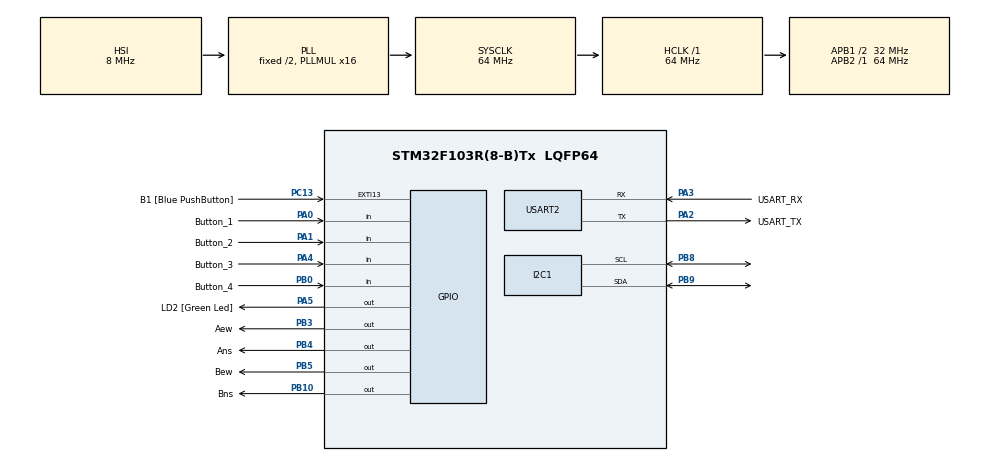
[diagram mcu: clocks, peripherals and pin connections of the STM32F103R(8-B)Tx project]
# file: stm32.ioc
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Mcu.Family=STM32F1
Mcu.Name=STM32F103R(8-B)Tx
Mcu.Package=LQFP64
NVIC.EXTI15_10_IRQn=true\:0\:0\:false\:false\:true\:true\:true\:true
NVIC.PriorityGroup=NVIC_PRIORITYGROUP_4
NVIC.TIM2_IRQn=true\:0\:0\:false\:false\:true\:true\:true\:true
PA0-WKUP.GPIO_Label=Button_1
PA0-WKUP.GPIO_PuPd=GPIO_PULLUP
PA0-WKUP.Signal=GPIO_Input
PA1.GPIO_Label=Button_2
PA1.GPIO_PuPd=GPIO_PULLUP
PA1.Signal=GPIO_Input
PA13.GPIO_Label=TMS
PA13.Mode=Serial_Wire
PA13.Signal=SYS_JTMS-SWDIO
PA14.GPIO_Label=TCK
PA14.Mode=Serial_Wire
PA14.Signal=SYS_JTCK-SWCLK
PA2.GPIO_Label=USART_TX
PA2.GPIO_Mode=GPIO_MODE_AF_PP
PA2.GPIO_PuPd=GPIO_NOPULL
PA2.GPIO_Speed=GPIO_SPEED_FREQ_LOW
PA2.Mode=Asynchronous
PA2.Signal=USART2_TX
PA3.GPIO_Label=USART_RX
PA3.GPIO_Mode=GPIO_MODE_AF_PP
PA3.GPIO_PuPd=GPIO_NOPULL
PA3.GPIO_Speed=GPIO_SPEED_FREQ_LOW
PA3.Mode=Asynchronous
PA3.Signal=USART2_RX
PA4.GPIO_Label=Button_3
PA4.GPIO_PuPd=GPIO_PULLUP
PA4.Signal=GPIO_Input
PA5.GPIO_Label=LD2 [Green Led]
PA5.GPIO_ModeDefaultOutputPP=GPIO_MODE_OUTPUT_PP
PA5.GPIO_PuPd=GPIO_NOPULL
PA5.GPIO_Speed=GPIO_SPEED_FREQ_LOW
PA5.Signal=GPIO_Output
PB0.GPIO_Label=Button_4
PB0.GPIO_PuPd=GPIO_PULLUP
PB0.Signal=GPIO_Input
PB10.GPIO_Label=Bns
PB10.Signal=GPIO_Output
PB3.GPIO_Label=Aew
PB3.Signal=GPIO_Output
PB4.GPIO_Label=Ans
PB4.Signal=GPIO_Output
PB5.GPIO_Label=Bew
PB5.Signal=GPIO_Output
PB8.Mode=I2C
PB8.Signal=I2C1_SCL
PB9.Mode=I2C
PB9.Signal=I2C1_SDA
PC13-TAMPER-RTC.GPIO_Label=B1 [Blue PushButton]
PC13-TAMPER-RTC.GPIO_PuPd=GPIO_NOPULL
PC13-TAMPER-RTC.Signal=GPXTI13
PC14-OSC32_IN.Mode=LSE-External-Oscillator
PC14-OSC32_IN.Signal=RCC_OSC32_IN
PC15-OSC32_OUT.Mode=LSE-External-Oscillator
PC15-OSC32_OUT.Signal=RCC_OSC32_OUT
PD0-OSC_IN.Mode=HSE-External-Clock-Source
PD0-OSC_IN.Signal=RCC_OSC_IN
PD1-OSC_OUT.Mode=HSE-External-Clock-Source
PD1-OSC_OUT.Signal=RCC_OSC_OUT
ProjectManager.HeapSize=0x200
ProjectManager.StackSize=0x400
ProjectManager.TargetToolchain=STM32CubeIDE
RCC.AHBFreq_Value=64000000
RCC.APB1CLKDivider=RCC_HCLK_DIV2
RCC.APB1Freq_Value=32000000
RCC.APB1TimFreq_Value=64000000
RCC.APB2Freq_Value=64000000
RCC.APB2TimFreq_Value=64000000
RCC.HCLKFreq_Value=64000000
RCC.PLLMUL=RCC_PLL_MUL16
RCC.RTCClockSelection=RCC_RTCCLKSOURCE_LSE
RCC.SYSCLKFreq_VALUE=64000000
RCC.SYSCLKSource=RCC_SYSCLKSOURCE_PLLCLK
RCC.USBFreq_Value=64000000
TIM2.Period=99
TIM2.Prescaler=7199
USART2.VirtualMode=VM_ASYNC
VP_TIM2_VS_ClockSourceINT.Mode=Internal
board=NUCLEO-F103RB

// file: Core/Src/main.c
/* USER CODE BEGIN Header */
/**
  ******************************************************************************
  * @file           : main.c
  * @brief          : Main program body
  ******************************************************************************
  * @attention
  *
  * Copyright (c) 2025 STMicroelectronics.
  * All rights reserved.
  *
  * This software is licensed under terms that can be found in the LICENSE file
  * in the root directory of this software component.
  * If no LICENSE file comes with this software, it is provided AS-IS.
  *
  ******************************************************************************
  */
/* USER CODE END Header */
#include "main.h"

/* USER CODE BEGIN Includes */
#include "global.h"
#include "timer.h"
#include "sched.h"
#include "button.h"
#include "light.h"
#include "i2c-lcd.h"
#include "fsm.h"
/* USER CODE END Includes */

I2C_HandleTypeDef hi2c1;

TIM_HandleTypeDef htim2;

UART_HandleTypeDef huart2;

void SystemClock_Config(void);
static void MX_GPIO_Init(void);
static void MX_USART2_UART_Init(void);
static void MX_TIM2_Init(void);
static void MX_I2C1_Init(void);

int main(void)
{

  /* MCU Configuration--------------------------------------------------------*/

  /* Reset of all peripherals, Initializes the Flash interface and the Systick. */
  HAL_Init();

  /* Configure the system clock */
  SystemClock_Config();

  /* Initialize all configured peripherals */
  MX_GPIO_Init();
  MX_USART2_UART_Init();
  MX_TIM2_Init();
  MX_I2C1_Init();
  /* USER CODE BEGIN 2 */

  // Initialize modules
  global_init();
  timer_init();
  button_init();
  light_init();
  SCH_Init();
  fsm_init();

  // Initialize LCD
  lcd_init();

  // Add tasks to scheduler
  SCH_Add_Task(fsm_run, 0, 100);              // FSM run every 1 second
  SCH_Add_Task(fsm_button_scan, 0, 1);        // Button scan every 10ms
  SCH_Add_Task(fsm_countdown_update, 100, 100); // Countdown every 1 second
  SCH_Add_Task(fsm_lcd_update, 0, 10);        // LCD update every 100ms
  SCH_Add_Task(fsm_flash_update, 50, 50);     // Flash update every 500ms

  // Start timer
  HAL_TIM_Base_Start_IT(&htim2);

  // Display initial screen
  fsm_lcd_update();
  /* USER CODE BEGIN 2 */

  /* USER CODE END 2 */

  /* Infinite loop */
  /* USER CODE BEGIN WHILE */
  while (1)
  {
	  SCH_Dispatch_Tasks();
    /* USER CODE END WHILE */

  }
}

void SystemClock_Config(void)
{
  RCC_OscInitTypeDef RCC_OscInitStruct = {0};
  RCC_ClkInitTypeDef RCC_ClkInitStruct = {0};

  /** Initializes the RCC Oscillators according to the specified parameters
  * in the RCC_OscInitTypeDef structure.
  */
  RCC_OscInitStruct.OscillatorType = RCC_OSCILLATORTYPE_HSI;
  RCC_OscInitStruct.HSIState = RCC_HSI_ON;
  RCC_OscInitStruct.HSICalibrationValue = RCC_HSICALIBRATION_DEFAULT;
  RCC_OscInitStruct.PLL.PLLState = RCC_PLL_ON;
  RCC_OscInitStruct.PLL.PLLSource = RCC_PLLSOURCE_HSI_DIV2;
  RCC_OscInitStruct.PLL.PLLMUL = RCC_PLL_MUL16;
  if (HAL_RCC_OscConfig(&RCC_OscInitStruct) != HAL_OK)
  {
    Error_Handler();
  }

  /** Initializes the CPU, AHB and APB buses clocks
  */
  RCC_ClkInitStruct.ClockType = RCC_CLOCKTYPE_HCLK|RCC_CLOCKTYPE_SYSCLK
                              |RCC_CLOCKTYPE_PCLK1|RCC_CLOCKTYPE_PCLK2;
  RCC_ClkInitStruct.SYSCLKSource = RCC_SYSCLKSOURCE_PLLCLK;
  RCC_ClkInitStruct.AHBCLKDivider = RCC_SYSCLK_DIV1;
  RCC_ClkInitStruct.APB1CLKDivider = RCC_HCLK_DIV2;
  RCC_ClkInitStruct.APB2CLKDivider = RCC_HCLK_DIV1;

  if (HAL_RCC_ClockConfig(&RCC_ClkInitStruct, FLASH_LATENCY_2) != HAL_OK)
  {
    Error_Handler();
  }
}

static void MX_I2C1_Init(void)
{

  hi2c1.Instance = I2C1;
  hi2c1.Init.ClockSpeed = 100000;
  hi2c1.Init.DutyCycle = I2C_DUTYCYCLE_2;
  hi2c1.Init.OwnAddress1 = 0;
  hi2c1.Init.AddressingMode = I2C_ADDRESSINGMODE_7BIT;
  hi2c1.Init.DualAddressMode = I2C_DUALADDRESS_DISABLE;
  hi2c1.Init.OwnAddress2 = 0;
  hi2c1.Init.GeneralCallMode = I2C_GENERALCALL_DISABLE;
  hi2c1.Init.NoStretchMode = I2C_NOSTRETCH_DISABLE;
  if (HAL_I2C_Init(&hi2c1) != HAL_OK)
  {
    Error_Handler();
  }

}

static void MX_TIM2_Init(void)
{

  TIM_ClockConfigTypeDef sClockSourceConfig = {0};
  TIM_MasterConfigTypeDef sMasterConfig = {0};

  htim2.Instance = TIM2;
  htim2.Init.Prescaler = 7199;
  htim2.Init.CounterMode = TIM_COUNTERMODE_UP;
  htim2.Init.Period = 99;
  htim2.Init.ClockDivision = TIM_CLOCKDIVISION_DIV1;
  htim2.Init.AutoReloadPreload = TIM_AUTORELOAD_PRELOAD_DISABLE;
  if (HAL_TIM_Base_Init(&htim2) != HAL_OK)
  {
    Error_Handler();
  }
  sClockSourceConfig.ClockSource = TIM_CLOCKSOURCE_INTERNAL;
  if (HAL_TIM_ConfigClockSource(&htim2, &sClockSourceConfig) != HAL_OK)
  {
    Error_Handler();
  }
  sMasterConfig.MasterOutputTrigger = TIM_TRGO_RESET;
  sMasterConfig.MasterSlaveMode = TIM_MASTERSLAVEMODE_DISABLE;
  if (HAL_TIMEx_MasterConfigSynchronization(&htim2, &sMasterConfig) != HAL_OK)
  {
    Error_Handler();
  }

}

static void MX_USART2_UART_Init(void)
{

  huart2.Instance = USART2;
  huart2.Init.BaudRate = 115200;
  huart2.Init.WordLength = UART_WORDLENGTH_8B;
  huart2.Init.StopBits = UART_STOPBITS_1;
  huart2.Init.Parity = UART_PARITY_NONE;
  huart2.Init.Mode = UART_MODE_TX_RX;
  huart2.Init.HwFlowCtl = UART_HWCONTROL_NONE;
  huart2.Init.OverSampling = UART_OVERSAMPLING_16;
  if (HAL_UART_Init(&huart2) != HAL_OK)
  {
    Error_Handler();
  }

}

static void MX_GPIO_Init(void)
{
  GPIO_InitTypeDef GPIO_InitStruct = {0};

  /* GPIO Ports Clock Enable */
  __HAL_RCC_GPIOC_CLK_ENABLE();
  __HAL_RCC_GPIOD_CLK_ENABLE();
  __HAL_RCC_GPIOA_CLK_ENABLE();
  __HAL_RCC_GPIOB_CLK_ENABLE();

  /*Configure GPIO pin Output Level */
  HAL_GPIO_WritePin(LD2_GPIO_Port, LD2_Pin, GPIO_PIN_RESET);

  /*Configure GPIO pin Output Level */
  HAL_GPIO_WritePin(GPIOB, Bns_Pin|Aew_Pin|Ans_Pin|Bew_Pin, GPIO_PIN_RESET);

  /*Configure GPIO pin : B1_Pin */
  GPIO_InitStruct.Pin = B1_Pin;
  GPIO_InitStruct.Mode = GPIO_MODE_IT_RISING;
  GPIO_InitStruct.Pull = GPIO_NOPULL;
  HAL_GPIO_Init(B1_GPIO_Port, &GPIO_InitStruct);

  /*Configure GPIO pins : Button_1_Pin Button_2_Pin Button_3_Pin */
  GPIO_InitStruct.Pin = Button_1_Pin|Button_2_Pin|Button_3_Pin;
  GPIO_InitStruct.Mode = GPIO_MODE_INPUT;
  GPIO_InitStruct.Pull = GPIO_PULLUP;
  HAL_GPIO_Init(GPIOA, &GPIO_InitStruct);

  /*Configure GPIO pin : LD2_Pin */
  GPIO_InitStruct.Pin = LD2_Pin;
  GPIO_InitStruct.Mode = GPIO_MODE_OUTPUT_PP;
  GPIO_InitStruct.Pull = GPIO_NOPULL;
  GPIO_InitStruct.Speed = GPIO_SPEED_FREQ_LOW;
  HAL_GPIO_Init(LD2_GPIO_Port, &GPIO_InitStruct);

  /*Configure GPIO pin : Button_4_Pin */
  GPIO_InitStruct.Pin = Button_4_Pin;
  GPIO_InitStruct.Mode = GPIO_MODE_INPUT;
  GPIO_InitStruct.Pull = GPIO_PULLUP;
  HAL_GPIO_Init(Button_4_GPIO_Port, &GPIO_InitStruct);

  /*Configure GPIO pins : Bns_Pin Aew_Pin Ans_Pin Bew_Pin */
  GPIO_InitStruct.Pin = Bns_Pin|Aew_Pin|Ans_Pin|Bew_Pin;
  GPIO_InitStruct.Mode = GPIO_MODE_OUTPUT_PP;
  GPIO_InitStruct.Pull = GPIO_NOPULL;
  GPIO_InitStruct.Speed = GPIO_SPEED_FREQ_LOW;
  HAL_GPIO_Init(GPIOB, &GPIO_InitStruct);

  /* EXTI interrupt init*/
  HAL_NVIC_SetPriority(EXTI15_10_IRQn, 0, 0);
  HAL_NVIC_EnableIRQ(EXTI15_10_IRQn);

  /* USER CODE BEGIN MX_GPIO_Init_2 */

  /*Configure GPIO pin Output Level for Traffic Lights */
  HAL_GPIO_WritePin(GPIOA, GPIO_PIN_6|GPIO_PIN_7|GPIO_PIN_8|GPIO_PIN_9, GPIO_PIN_RESET);

  /*Configure GPIO pin Output Level for Buttons (pull-up, so default HIGH) */
  HAL_GPIO_WritePin(GPIOB, GPIO_PIN_8|GPIO_PIN_9|GPIO_PIN_10|GPIO_PIN_11, GPIO_PIN_SET);

  /*Configure GPIO pins : Traffic Light Control Pins (PA6-PA9) */
  GPIO_InitStruct.Pin = GPIO_PIN_6|GPIO_PIN_7|GPIO_PIN_8|GPIO_PIN_9;
  GPIO_InitStruct.Mode = GPIO_MODE_OUTPUT_PP;
  GPIO_InitStruct.Pull = GPIO_NOPULL;
  GPIO_InitStruct.Speed = GPIO_SPEED_FREQ_LOW;
  HAL_GPIO_Init(GPIOA, &GPIO_InitStruct);

  /*Configure GPIO pins : Button Pins (PB8-PB11) - Pull-up inputs */
  GPIO_InitStruct.Pin = GPIO_PIN_8|GPIO_PIN_9|GPIO_PIN_10|GPIO_PIN_11;
  GPIO_InitStruct.Mode = GPIO_MODE_INPUT;
  GPIO_InitStruct.Pull = GPIO_PULLUP;
  HAL_GPIO_Init(GPIOB, &GPIO_InitStruct);

  /* USER CODE END MX_GPIO_Init_2 */
}

void Error_Handler(void)
{
  __disable_irq();
  while (1)
  {
  }
}
